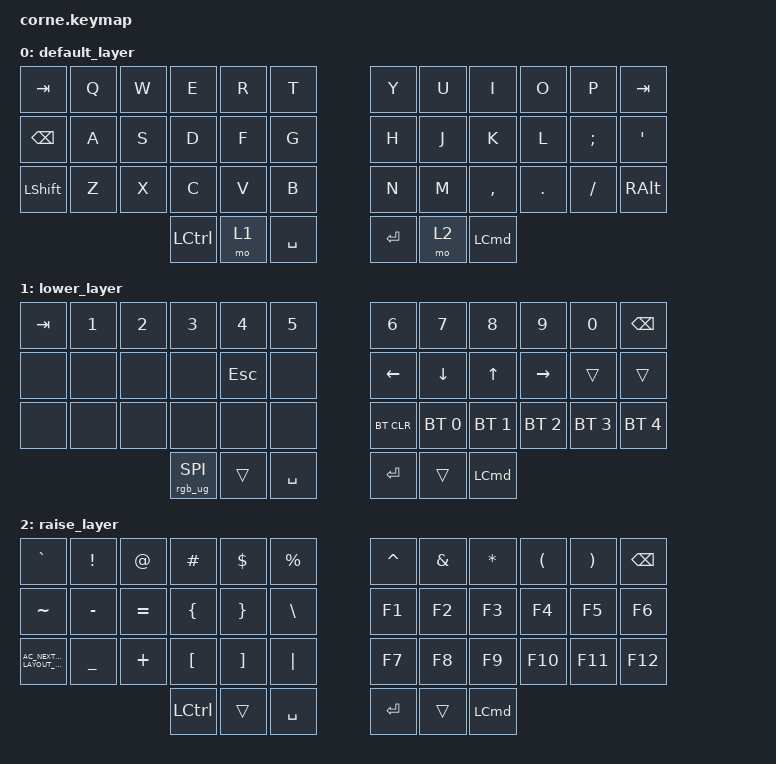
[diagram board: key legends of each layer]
/*
 * Copyright (c) 2020 The ZMK Contributors
 *
 * SPDX-License-Identifier: MIT
 */

#include <behaviors.dtsi>
#include <dt-bindings/zmk/bt.h>
#include <dt-bindings/zmk/keys.h>
#include <dt-bindings/zmk/rgb.h>

/ {
    behaviors {
        hml: home_row_mod_left {
            compatible = "zmk,behavior-hold-tap";
            #binding-cells = <2>;
            flavor = "tap-preferred";
            require-prior-idle-ms = <125>;
            tapping-term-ms = <280>;
            quick-tap-ms = <175>;
            bindings = <&kp &kp>;

            /* This list includes ALL keys on the right hand (21-41) */

            hold-trigger-key-positions = <21 22 23 30 31 32 33 34 35 39 40 41 18 19 20 6 7 8 9 10 11>;
            hold-trigger-on-release;
        };

        hmr: home_row_mod_right {
            compatible = "zmk,behavior-hold-tap";
            #binding-cells = <2>;
            flavor = "tap-preferred";
            require-prior-idle-ms = <125>;
            tapping-term-ms = <280>;
            quick-tap-ms = <175>;
            bindings = <&kp &kp>;

            /* This list includes ALL keys on the left hand (0-20) */

            hold-trigger-key-positions = <0 1 2 3 4 5 12 13 14 15 16 17 24 25 26 27 28 29 36 37 38>;
            hold-trigger-on-release;
        };
    };

    keymap {
        compatible = "zmk,keymap";

        default_layer {
            // -----------------------------------------------------------------------------------------
            // |  TAB |  Q  |  W  |  E  |  R  |  T  |   |  Y  |  U   |  I  |  O  |  P  | BKSP |
            // | CTRL |  A  |  S  |  D  |  F  |  G  |   |  H  |  J   |  K  |  L  |  ;  |  '   |
            // | SHFT |  Z  |  X  |  C  |  V  |  B  |   |  N  |  M   |  ,  |  .  |  /  | ESC  |
            //                    | GUI | LWR | SPC |   | ENT | RSE  | ALT |

            bindings = <
&kp TAB        &kp Q  &kp W  &kp E      &kp R  &kp T        &kp Y      &kp U  &kp I             &kp O    &kp P          &kp TAB
&kp BACKSPACE  &kp A  &kp S  &kp D      &kp F  &kp G        &kp H      &kp J  &kp K             &kp L    &kp SEMICOLON  &kp SQT
&kp LSHFT      &kp Z  &kp X  &kp C      &kp V  &kp B        &kp N      &kp M  &kp COMMA         &kp DOT  &kp FSLH       &kp RIGHT_ALT
                             &kp LCTRL  &mo 1  &kp SPACE    &kp ENTER  &mo 2  &kp LEFT_COMMAND
            >;
        };

        lower_layer {
            // -----------------------------------------------------------------------------------------
            // |  TAB |  1  |  2  |  3  |  4  |  5  |   |  6  |  7  |  8  |  9  |  0  | BKSP |
            // | BTCLR| BT1 | BT2 | BT3 | BT4 | BT5 |   | LFT | DWN |  UP | RGT |     |      |
            // | SHFT |     |     |     |     |     |   |     |     |     |     |     |      |
            //                    | GUI |     | SPC |   | ENT |     | ALT |

            bindings = <
&kp TAB  &kp N1  &kp N2  &kp N3           &kp N4      &kp N5       &kp N6      &kp N7        &kp N8            &kp N9        &kp N0        &kp BSPC
&none    &none   &none   &none            &kp ESCAPE  &none        &kp LEFT    &kp DOWN      &kp UP            &kp RIGHT     &trans        &trans
&none    &none   &none   &none            &none       &none        &bt BT_CLR  &bt BT_SEL 0  &bt BT_SEL 1      &bt BT_SEL 2  &bt BT_SEL 3  &bt BT_SEL 4
                         &rgb_ug RGB_SPI  &trans      &kp SPACE    &kp RET     &trans        &kp LEFT_COMMAND
            >;
        };

        raise_layer {
            // -----------------------------------------------------------------------------------------
            // |  TAB |  !  |  @  |  #  |  $  |  %  |   |  ^  |  &  |  *  |  (  |  )  | BKSP |
            // | CTRL |     |     |     |     |     |   |  -  |  =  |  [  |  ]  |  \  |  `   |
            // | SHFT |     |     |     |     |     |   |  _  |  +  |  {  |  }  | "|" |  ~   |
            //                    | GUI |     | SPC |   | ENT |     | ALT |

            bindings = <
&kp GRAVE                             &kp EXCL        &kp AT     &kp HASH          &kp DLLR           &kp PRCNT        &kp CARET  &kp AMPS  &kp ASTRK         &kp LPAR  &kp RPAR  &kp BSPC
&kp TILDE                             &kp MINUS       &kp EQUAL  &kp LEFT_BRACE    &kp RIGHT_BRACE    &kp BACKSLASH    &kp F1     &kp F2    &kp F3            &kp F4    &kp F5    &kp F6
&kp C_AC_NEXT_KEYBOARD_LAYOUT_SELECT  &kp UNDERSCORE  &kp PLUS   &kp LEFT_BRACKET  &kp RIGHT_BRACKET  &kp PIPE         &kp F7     &kp F8    &kp F9            &kp F10   &kp F11   &kp F12
                                                                 &kp LCTRL         &trans             &kp SPACE        &kp ENTER  &trans    &kp LEFT_COMMAND
            >;
        };
    };
};
